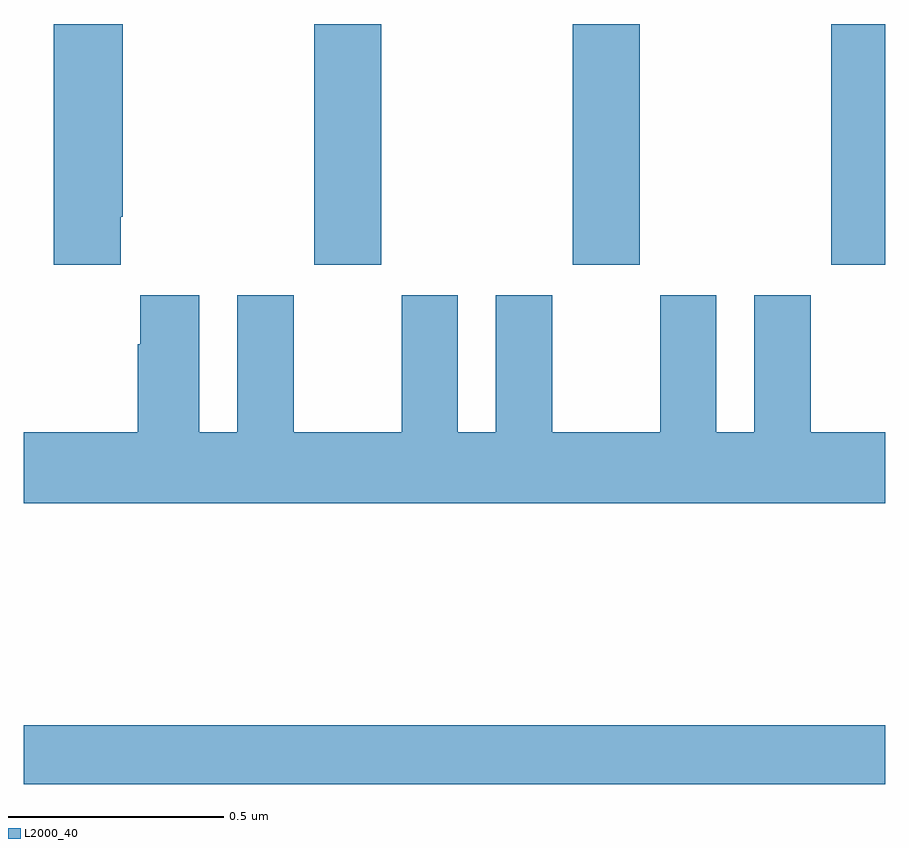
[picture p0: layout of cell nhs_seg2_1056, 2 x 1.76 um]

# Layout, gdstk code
import gdstk
lib = gdstk.Library(unit=1e-6, precision=1e-09)
def R(c, l, rs):  # rectangles x0, y0, x1, y1
    for r in rs: c.add(gdstk.rectangle(r[:2], r[2:], *l))
def P(c, l, *ps):  # polygons
    for p in ps: c.add(gdstk.Polygon(p, *l))
L2000_40 = (2000, 40)

nhs_seg2_1056 = lib.new_cell('nhs_seg2_1056')
R(nhs_seg2_1056, L2000_40, [(124,595.036,126,595.172), (124.675,596.241,124.83,596.8), (125.275,596.241,125.43,596.8), (125.875,596.241,126,596.8)])
P(nhs_seg2_1056, L2000_40, [(124.225,596.353),(124.23,596.353),(124.23,596.8),(124.07,596.8),(124.07,596.241),(124.225,596.241)],
  [(126,595.852),(125.827,595.852),(125.827,596.17),(125.696,596.17),(125.696,595.852),(125.608,595.852),(125.608,596.17),(125.477,596.17),(125.477,595.852),(125.227,595.852),(125.227,596.17),(125.096,596.17),(125.096,595.852),(125.008,595.852),(125.008,596.17),(124.877,596.17),(124.877,595.852),(124.627,595.852),(124.627,596.17),(124.496,596.17),(124.496,595.852),(124.408,595.852),(124.408,596.17),(124.271,596.17),(124.271,596.057),(124.265,596.057),(124.265,595.852),(124,595.852),(124,595.688),(126,595.688)])

lib.write_gds('nhs_seg2_1056.gds')
